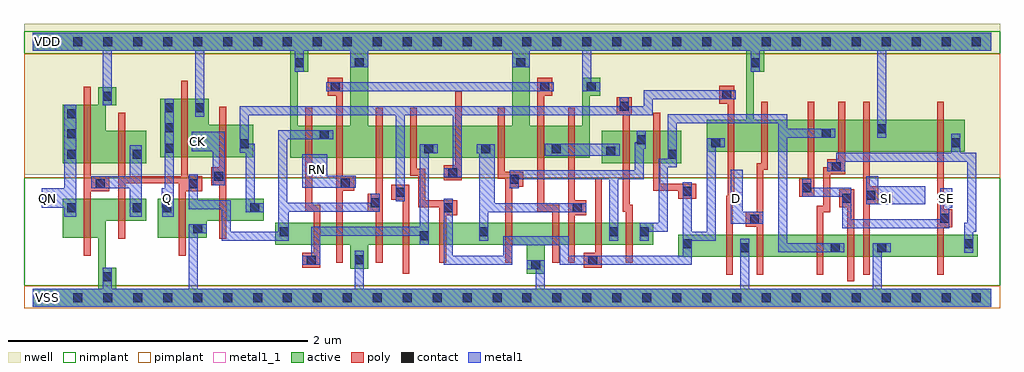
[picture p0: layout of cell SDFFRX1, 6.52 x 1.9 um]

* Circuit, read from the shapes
.subckt SDFFRX1 CK D Q QN RN SE SI VDD VSS
M1 VSS n1 QN VSS nfet w=0.26u l=0.045u
M2 n1 n2 VSS VSS nfet w=0.145u l=0.045u
M3 VSS n2 Q VSS nfet w=0.26u l=0.045u
M4 n3 CK VSS VSS nfet w=0.145u l=0.045u
M5 n4 n5 n2 VSS nfet w=0.145u l=0.045u
M6 VSS RN n4 VSS nfet w=0.145u l=0.045u
M7 n6 n2 VSS VSS nfet w=0.145u l=0.045u
M8 n5 n3 n6 VSS nfet w=0.145u l=0.045u
M9 n7 n8 n5 VSS nfet w=0.145u l=0.045u
M10 VSS n9 n7 VSS nfet w=0.145u l=0.045u
M11 n10 RN VSS VSS nfet w=0.145u l=0.045u
M12 n11 n7 n10 VSS nfet w=0.145u l=0.045u
M13 n9 n8 n11 VSS nfet w=0.145u l=0.045u
M14 n12 n3 n9 VSS nfet w=0.145u l=0.045u
M15 VSS n3 n8 VSS nfet w=0.145u l=0.045u
M16 n13 D VSS VSS nfet w=0.145u l=0.045u
M17 n12 n14 n13 VSS nfet w=0.145u l=0.045u
M18 n15 SE n12 VSS nfet w=0.145u l=0.045u
M19 VSS SI n15 VSS nfet w=0.145u l=0.045u
M20 n14 SE VSS VSS nfet w=0.145u l=0.045u
M21 VDD n1 QN VDD pfet w=0.39u l=0.045u
M22 n1 n2 VDD VDD pfet w=0.215u l=0.045u
M23 VDD n2 Q VDD pfet w=0.39u l=0.045u
M24 n3 CK VDD VDD pfet w=0.215u l=0.045u
M25 n2 n5 VDD VDD pfet w=0.215u l=0.045u
M26 VDD RN n2 VDD pfet w=0.215u l=0.045u
M27 n16 n2 VDD VDD pfet w=0.215u l=0.045u
M28 n5 n8 n16 VDD pfet w=0.215u l=0.045u
M29 n7 n3 n5 VDD pfet w=0.215u l=0.045u
M30 VDD n9 n7 VDD pfet w=0.215u l=0.045u
M31 n17 RN VDD VDD pfet w=0.215u l=0.045u
M32 VDD n7 n17 VDD pfet w=0.215u l=0.045u
M33 n9 n3 n17 VDD pfet w=0.215u l=0.045u
M34 n12 n8 n9 VDD pfet w=0.215u l=0.045u
M35 VDD n3 n8 VDD pfet w=0.215u l=0.045u
M36 n18 D VDD VDD pfet w=0.215u l=0.045u
M37 n12 SE n18 VDD pfet w=0.215u l=0.045u
M38 n19 n14 n12 VDD pfet w=0.215u l=0.045u
M39 VDD SI n19 VDD pfet w=0.215u l=0.045u
M40 n14 SE VDD VDD pfet w=0.215u l=0.045u
.ends

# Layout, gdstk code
import gdstk
lib = gdstk.Library(unit=1e-6, precision=5e-10)
def R(c, l, rs):  # rectangles x0, y0, x1, y1
    for r in rs: c.add(gdstk.rectangle(r[:2], r[2:], *l))
def A(c, l, x, y, w, h, nx, ny, dx, dy):  # array of equal rectangles
    R(c, l, [(x+i*dx, y+j*dy, x+i*dx+w, y+j*dy+h) for i in range(nx) for j in range(ny)])
def P(c, l, *ps):  # polygons
    for p in ps: c.add(gdstk.Polygon(p, *l))
active = (1, 0)
nwell = (2, 0)
poly = (3, 0)
nimplant = (4, 0)
pimplant = (5, 0)
contact = (6, 0)
metal1 = (7, 0)
metal1_1 = (7, 1)

sdffrx1 = lib.new_cell('SDFFRX1')
R(sdffrx1, active, [(4.31,0.275,6.31,0.42), (3.8,0.9,4.33,1.115)])
P(sdffrx1, active, [(0,1.77),(6.4,1.77),(6.4,1.65),(4.885,1.65),(4.885,1.51),(4.815,1.51),(4.815,1.19),(6.225,1.19),(6.225,0.975),(4.5,0.975),(4.5,1.19),(4.765,1.19),(4.765,1.65),(3.32,1.65),(3.32,1.15),(3.67,1.15),(3.67,1.47),(3.79,1.47),(3.79,1.35),(3.72,1.35),(3.72,0.935),(1.72,0.935),(1.72,1.65),(1.84,1.65),(1.84,1.51),(1.77,1.51),(1.77,1.15),(2.12,1.15),(2.12,1.65),(2.24,1.65),(2.24,1.15),(3.2,1.15),(3.2,1.65),(0,1.65)],
  [(0.435,1.405),(0.555,1.405),(0.555,1.285),(0.485,1.285),(0.485,1.115),(0.755,1.115),(0.755,0.9),(0.2,0.9),(0.2,1.29),(0.435,1.29)],
  [(0.85,1.33),(1.175,1.33),(1.175,1.155),(1.47,1.155),(1.47,0.94),(0.85,0.94)],
  [(0.2,0.66),(0.755,0.66),(0.755,0.515),(0.485,0.515),(0.485,0.2),(0.555,0.2),(0.555,0.06),(6.4,0.06),(6.4,-0.06),(0,-0.06),(0,0.06),(0.435,0.06),(0.435,0.4),(0.2,0.4)],
  [(0.835,0.66),(1.54,0.66),(1.54,0.515),(1.16,0.515),(1.16,0.4),(0.835,0.4)],
  [(1.62,0.5),(4.145,0.5),(4.145,0.355),(3.42,0.355),(3.42,0.16),(3.3,0.16),(3.3,0.355),(2.24,0.355),(2.24,0.195),(2.12,0.195),(2.12,0.355),(1.62,0.355)])
R(sdffrx1, nwell, [(-0.06,0.82,6.46,1.83)])
P(sdffrx1, poly, [(0.34,1.41),(0.385,1.41),(0.385,0.81),(0.51,0.81),(0.51,0.71),(0.385,0.71),(0.385,0.28),(0.34,0.28)],
  [(0.57,1.235),(0.615,1.235),(0.615,0.81),(0.99,0.81),(0.99,1.45),(1.035,1.45),(1.035,0.81),(1.13,0.81),(1.13,0.71),(1.02,0.71),(1.02,0.28),(0.975,0.28),(0.975,0.765),(0.615,0.765),(0.615,0.395),(0.57,0.395)],
  [(1.97,1.47),(2.07,1.47),(2.07,0.815),(2.145,0.815),(2.145,0.715),(2.07,0.715),(2.07,0.235),(2.025,0.235),(2.025,1.35),(1.97,1.35)],
  [(1.245,1.275),(1.29,1.275),(1.29,0.395),(1.245,0.395),(1.245,0.75),(1.19,0.75),(1.19,0.87),(1.245,0.87)],
  [(1.82,1.27),(1.865,1.27),(1.865,0.62),(1.92,0.62),(1.92,0.2),(1.8,0.2),(1.8,0.3),(1.875,0.3),(1.875,0.575),(1.82,0.575)],
  [(2.29,1.27),(2.335,1.27),(2.335,0.235),(2.29,0.235),(2.29,0.575),(2.235,0.575),(2.235,0.695),(2.29,0.695)],
  [(2.52,1.27),(2.565,1.27),(2.565,0.86),(2.62,0.86),(2.62,0.65),(2.835,0.65),(2.835,0.55),(2.76,0.55),(2.76,0.235),(2.715,0.235),(2.715,0.605),(2.575,0.605),(2.575,0.815),(2.52,0.815)],
  [(2.82,1.38),(2.865,1.38),(2.865,0.785),(2.745,0.785),(2.745,0.885),(2.82,0.885)],
  [(3.105,1.27),(3.15,1.27),(3.15,0.84),(3.275,0.84),(3.275,0.74),(3.2,0.74),(3.2,0.235),(3.155,0.235),(3.155,0.795),(3.105,0.795)],
  [(4.585,1.415),(4.685,1.415),(4.685,0.635),(4.675,0.635),(4.675,0.155),(4.63,0.155),(4.63,0.68),(4.64,0.68),(4.64,1.295),(4.585,1.295)],
  [(3.37,1.47),(3.47,1.47),(3.47,1.35),(3.415,1.35),(3.415,0.62),(3.515,0.62),(3.515,0.235),(3.47,0.235),(3.47,0.575),(3.37,0.575)],
  [(3.575,1.27),(3.62,1.27),(3.62,0.65),(3.695,0.65),(3.695,0.55),(3.62,0.55),(3.62,0.235),(3.575,0.235)],
  [(3.9,1.34),(4,1.34),(4,1.22),(3.985,1.22),(3.985,0.62),(4.005,0.62),(4.005,0.235),(3.96,0.235),(3.96,0.575),(3.94,0.575),(3.94,1.22),(3.9,1.22)],
  [(4.865,1.31),(4.91,1.31),(4.91,0.855),(4.88,0.855),(4.88,0.155),(4.835,0.155),(4.835,0.475),(4.76,0.475),(4.76,0.575),(4.835,0.575),(4.835,0.9),(4.865,0.9)],
  [(5.175,1.31),(5.22,1.31),(5.22,0.675),(5.12,0.675),(5.12,0.795),(5.175,0.795)],
  [(5.38,1.31),(5.425,1.31),(5.425,0.825),(5.325,0.825),(5.325,0.57),(5.28,0.57),(5.28,0.155),(5.235,0.155),(5.235,0.615),(5.28,0.615),(5.28,0.87),(5.305,0.87),(5.305,0.925),(5.38,0.925)],
  [(5.545,1.31),(5.59,1.31),(5.59,0.745),(5.645,0.745),(5.645,0.625),(5.59,0.625),(5.59,0.155),(5.545,0.155)],
  [(6.04,1.31),(6.085,1.31),(6.085,0.59),(6.14,0.59),(6.14,0.47),(6.085,0.47),(6.085,0.155),(6.04,0.155)],
  [(4.145,1.235),(4.19,1.235),(4.19,0.76),(4.43,0.76),(4.43,0.66),(4.31,0.66),(4.31,0.715),(4.145,0.715)],
  [(2.395,0.755),(2.515,0.755),(2.515,0.16),(2.47,0.16),(2.47,0.655),(2.395,0.655)],
  [(3.755,0.795),(3.8,0.795),(3.8,0.2),(3.68,0.2),(3.68,0.3),(3.755,0.3)],
  [(5.385,0.725),(5.485,0.725),(5.485,0.11),(5.44,0.11),(5.44,0.605),(5.385,0.605)])
R(sdffrx1, nimplant, [(-0.06,0.08,6.46,0.8), (-0.06,1.63,6.46,1.78)])
R(sdffrx1, pimplant, [(-0.06,-0.07,6.46,0.08), (-0.06,0.8,6.46,1.63)])
A(sdffrx1, contact, 0.07, -0.03, 0.06, 0.06, 32, 2, 0.2, 1.71)
A(sdffrx1, contact, 0.23, 0.93, 0.06, 0.06, 1, 3, 0, 0.135)
A(sdffrx1, contact, 0.88, 0.97, 0.06, 0.06, 1, 3, 0, 0.135)
R(sdffrx1, contact, [(0.465,0.11,0.525,0.17), (3.33,0.19,3.39,0.25), (1.83,0.22,1.89,0.28), (3.71,0.22,3.77,0.28), (2.15,0.225,2.21,0.285), (4.725,0.305,4.785,0.365), (5.33,0.305,5.39,0.365), (5.64,0.305,5.7,0.365), (4.34,0.33,4.4,0.39), (6.22,0.33,6.28,0.39), (2.585,0.385,2.645,0.445), (1.65,0.41,1.71,0.47), (2.98,0.41,3.04,0.47), (3.85,0.41,3.91,0.47), (4.055,0.41,4.115,0.47), (1.07,0.43,1.13,0.49), (4.79,0.495,4.85,0.555), (6.06,0.5,6.12,0.56), (0.23,0.57,0.29,0.63), (0.665,0.57,0.725,0.63), (0.865,0.57,0.925,0.63), (1.45,0.57,1.51,0.63), (2.745,0.57,2.805,0.63), (3.605,0.57,3.665,0.63), (2.255,0.605,2.315,0.665), (5.405,0.635,5.465,0.695), (5.565,0.655,5.625,0.715), (2.425,0.675,2.485,0.735), (4.34,0.68,4.4,0.74), (5.14,0.705,5.2,0.765), (0.42,0.73,0.48,0.79), (1.04,0.73,1.1,0.79), (2.055,0.735,2.115,0.795), (3.185,0.76,3.245,0.82), (1.21,0.78,1.27,0.84), (2.775,0.805,2.835,0.865), (5.335,0.845,5.395,0.905), (0.665,0.93,0.725,0.99), (4.24,0.93,4.3,0.99), (3.83,0.95,3.89,1.01), (2.615,0.965,2.675,1.025), (2.995,0.965,3.055,1.025), (3.465,0.965,3.525,1.025), (1.38,1,1.44,1.06), (4.53,1.005,4.59,1.065), (6.135,1.005,6.195,1.065), (4.035,1.025,4.095,1.085), (1.915,1.06,1.975,1.12), (5.27,1.07,5.33,1.13), (5.64,1.1,5.7,1.16), (1.085,1.24,1.145,1.3), (3.92,1.25,3.98,1.31), (0.465,1.315,0.525,1.375), (4.605,1.325,4.665,1.385), (1.99,1.38,2.05,1.44), (3.39,1.38,3.45,1.44), (3.7,1.38,3.76,1.44), (1.75,1.54,1.81,1.6), (2.15,1.54,2.21,1.6), (3.23,1.54,3.29,1.6), (4.795,1.54,4.855,1.6)])
R(sdffrx1, metal1, [(3.42,0.95,3.92,1.03), (1.96,1.38,3.48,1.44)])
P(sdffrx1, metal1, [(0,1.77),(6.4,1.77),(6.4,1.65),(5.7,1.65),(5.7,1.07),(5.64,1.07),(5.64,1.65),(4.855,1.65),(4.855,1.51),(4.795,1.51),(4.795,1.65),(3.73,1.65),(3.73,1.44),(3.79,1.44),(3.79,1.38),(3.67,1.38),(3.67,1.65),(3.32,1.65),(3.32,1.54),(3.2,1.54),(3.2,1.65),(2.24,1.65),(2.24,1.54),(2.12,1.54),(2.12,1.65),(1.81,1.65),(1.81,1.51),(1.75,1.51),(1.75,1.65),(1.145,1.65),(1.145,1.21),(1.085,1.21),(1.085,1.65),(0.525,1.65),(0.525,1.285),(0.465,1.285),(0.465,1.65),(0,1.65)],
  [(0.21,1.29),(0.29,1.29),(0.29,0.54),(0.21,0.54),(0.21,0.6),(0.06,0.6),(0.06,0.73),(0.21,0.73)],
  [(0.88,1.33),(0.94,1.33),(0.94,0.54),(0.865,0.54),(0.865,0.6),(0.86,0.6),(0.86,0.73),(0.88,0.73)],
  [(3.92,1.34),(3.98,1.34),(3.98,1.28),(4.08,1.28),(4.08,1.385),(4.695,1.385),(4.695,1.325),(4.14,1.325),(4.14,1.22),(2.865,1.22),(2.865,0.805),(2.745,0.805),(2.745,0.865),(2.805,0.865),(2.805,1.22),(2.485,1.22),(2.485,0.645),(2.425,0.645),(2.425,1.22),(1.44,1.22),(1.44,1.03),(1.48,1.03),(1.48,0.63),(1.54,0.63),(1.54,0.57),(1.42,0.57),(1.42,0.97),(1.38,0.97),(1.38,1.28),(3.92,1.28)],
  [(4.24,1.225),(5.04,1.225),(5.04,1.13),(5.36,1.13),(5.36,1.07),(5.04,1.07),(5.04,0.365),(5.42,0.365),(5.42,0.305),(4.98,0.305),(4.98,1.165),(4.3,1.165),(4.3,0.87),(4.24,0.87),(4.24,0.44),(4.115,0.44),(4.115,0.38),(4.055,0.38),(4.055,0.5),(4.18,0.5),(4.18,0.93),(4.24,0.93)],
  [(0.645,1.02),(0.725,1.02),(0.725,0.54),(0.645,0.54),(0.645,0.73),(0.39,0.73),(0.39,0.81),(0.645,0.81)],
  [(1.06,1.11),(1.28,1.11),(1.28,0.75),(1.2,0.75),(1.2,0.98),(1.06,0.98)],
  [(1.64,1.12),(2.005,1.12),(2.005,1.06),(1.7,1.06),(1.7,0.635),(2.255,0.635),(2.255,0.695),(2.315,0.695),(2.315,0.575),(1.71,0.575),(1.71,0.38),(1.26,0.38),(1.26,0.59),(1.04,0.59),(1.04,0.82),(1.1,0.82),(1.1,0.65),(1.32,0.65),(1.32,0.44),(1.64,0.44)],
  [(1.04,0.49),(1.16,0.49),(1.16,0.43),(1.1,0.43),(1.1,0.06),(2.15,0.06),(2.15,0.315),(2.21,0.315),(2.21,0.06),(3.36,0.06),(3.36,0.19),(3.3,0.19),(3.3,0.25),(3.42,0.25),(3.42,0.06),(4.725,0.06),(4.725,0.395),(4.785,0.395),(4.785,0.06),(5.61,0.06),(5.61,0.365),(5.73,0.365),(5.73,0.305),(5.67,0.305),(5.67,0.06),(6.4,0.06),(6.4,-0.06),(0,-0.06),(0,0.06),(0.465,0.06),(0.465,0.2),(0.525,0.2),(0.525,0.06),(1.04,0.06)],
  [(1.8,0.96),(1.965,0.96),(1.965,0.815),(2.155,0.815),(2.155,0.735),(1.8,0.735)],
  [(2.585,1.025),(2.705,1.025),(2.705,0.965),(2.645,0.965),(2.645,0.355),(2.585,0.355),(2.585,0.415),(1.92,0.415),(1.92,0.22),(1.8,0.22),(1.8,0.28),(1.86,0.28),(1.86,0.475),(2.585,0.475)],
  [(2.965,1.025),(3.085,1.025),(3.085,0.63),(3.695,0.63),(3.695,0.57),(3.04,0.57),(3.04,0.38),(2.98,0.38),(2.98,0.965),(2.965,0.965)],
  [(4.035,1.115),(4.095,1.115),(4.095,0.995),(4.08,0.995),(4.08,0.79),(3.91,0.79),(3.91,0.38),(3.85,0.38),(3.85,0.79),(3.245,0.79),(3.245,0.73),(3.185,0.73),(3.185,0.85),(4.02,0.85),(4.02,1.04),(4.035,1.04)],
  [(4.5,1.065),(4.62,1.065),(4.62,1.005),(4.56,1.005),(4.56,0.38),(4.4,0.38),(4.4,0.22),(3.52,0.22),(3.52,0.35),(3.2,0.35),(3.2,0.22),(2.745,0.22),(2.745,0.66),(2.805,0.66),(2.805,0.28),(3.14,0.28),(3.14,0.41),(3.58,0.41),(3.58,0.28),(4.34,0.28),(4.34,0.77),(4.4,0.77),(4.4,0.44),(4.5,0.44)],
  [(4.66,0.855),(4.74,0.855),(4.74,0.575),(4.88,0.575),(4.88,0.495),(4.66,0.495)],
  [(6.135,1.095),(6.195,1.095),(6.195,0.97),(6.3,0.97),(6.3,0.44),(6.28,0.44),(6.28,0.3),(6.22,0.3),(6.22,0.5),(6.24,0.5),(6.24,0.91),(5.425,0.91),(5.425,0.845),(5.305,0.845),(5.305,0.905),(5.365,0.905),(5.365,0.97),(6.135,0.97)],
  [(5.14,0.795),(5.2,0.795),(5.2,0.735),(5.465,0.735),(5.465,0.525),(6.06,0.525),(6.06,0.73),(6.14,0.73),(6.14,0.6),(6.12,0.6),(6.12,0.465),(5.405,0.465),(5.405,0.675),(5.14,0.675)],
  [(5.565,0.81),(5.645,0.81),(5.645,0.745),(5.96,0.745),(5.96,0.625),(5.565,0.625)])
R(sdffrx1, metal1_1, [(0.06,-0.04,0.14,0.04), (0.06,0.625,0.14,0.705), (0.86,0.625,0.94,0.705), (4.66,0.625,4.74,0.705), (5.66,0.625,5.74,0.705), (6.06,0.625,6.14,0.705), (1.86,0.815,1.94,0.895), (1.06,1.005,1.14,1.085), (0.06,1.67,0.14,1.75)])
sdffrx1.add(gdstk.Label('Q', (0.9,0.665), layer=7, texttype=1))
sdffrx1.add(gdstk.Label('QN', (0.1,0.665), layer=7, texttype=1))
sdffrx1.add(gdstk.Label('SE', (6.1,0.665), layer=7, texttype=1))
sdffrx1.add(gdstk.Label('SI', (5.7,0.665), layer=7, texttype=1))
sdffrx1.add(gdstk.Label('D', (4.7,0.665), layer=7, texttype=1))
sdffrx1.add(gdstk.Label('RN', (1.9,0.855), layer=7, texttype=1))
sdffrx1.add(gdstk.Label('CK', (1.1,1.045), layer=7, texttype=1))
sdffrx1.add(gdstk.Label('VDD', (0.1,1.71), layer=7, texttype=1))
sdffrx1.add(gdstk.Label('VSS', (0.1,0), layer=7, texttype=1))
sdffrx1.add(gdstk.Label('SDFFRX1', (0,0), layer=63, texttype=0))

lib.write_gds('SDFFRX1.gds')
